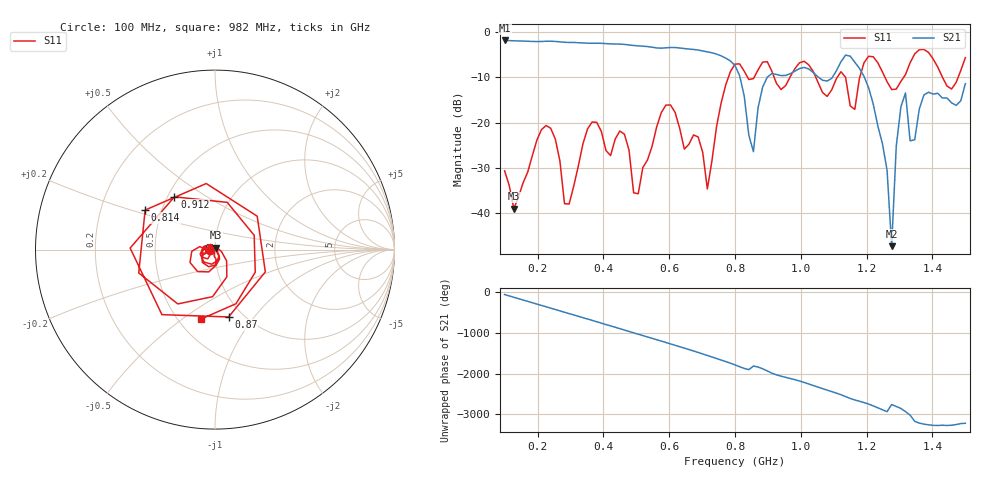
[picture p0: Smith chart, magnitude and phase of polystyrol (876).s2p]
! NanoVNA-App
! Date: 2025-09-25 15:36:42
! Start: 100MHz Stop: 1,5GHz Points: 101
! S-Parameter data: F S11 S21 S12 S22
# Hz S RI R 50
!  Frequency  S11_Real  S11_Imag  S21_Real  S21_Imag  S12_Real  S12_Imag  S22_Real  S22_Imag
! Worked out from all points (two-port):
!   101 points, 100 MHz to 1.5 GHz, reference 50 ohm
!   highest |S21| = -1.80 dB at 100 MHz (marker M1); lowest = -47.4 dB at 1.276 GHz (marker M2)
!   |S21| within 3 dB of the highest: start of sweep to 742.9 MHz
!   lowest |S11| = -39.1 dB at 128 MHz (marker M3), VSWR 1.02, Z = 50.3 + j1.06 ohm
!   |S11| at or under -10 dB: start of sweep to 779.8 MHz; 1.046 GHz to 1.11 GHz (64.73 MHz wide, 6 % of centre); 1.256 GHz to 1.312 GHz (56.24 MHz wide, 4.38 % of centre) (the widest 3 of 7)
!   S12 and S22 are empty: the file has one direction only
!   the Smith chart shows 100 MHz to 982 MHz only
!   S11 on the Smith chart (normalised r, x): 100 MHz: 0.94, -0.01; 814 MHz: 0.40, +0.22; 870 MHz: 0.86, -0.75; 912 MHz: 0.54, +0.37; 982 MHz: 0.64, -0.59
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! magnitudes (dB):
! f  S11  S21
! 100 MHz  -30.7  -1.8
! 128 MHz  -39.1  -1.9
! 212 MHz  -21.6  -2.0
! 282 MHz  -38.0  -2.2
! 338 MHz  -24.7  -2.4
! 506 MHz  -35.8  -3.0
! 576 MHz  -17.8  -3.5
! 716 MHz  -34.7  -4.3
! 800 MHz  -7.0  -7.3
! 814 MHz  -7.0  -9.6
! 856 MHz  -10.3  -26.5
! 870 MHz  -8.3  -16.7
! 912 MHz  -8.6  -9.1
! 982 MHz  -8.1  -8.6
! 1.038 GHz  -8.7  -8.9
! 1.192 GHz  -6.7  -9.8
! 1.262 GHz  -10.9  -30.6
! 1.276 GHz  -12.7  -47.4
! 1.29 GHz  -12.6  -25.2
! 1.318 GHz  -9.4  -13.4
! 1.332 GHz  -6.7  -24.0
! 1.5 GHz  -5.6  -11.4
